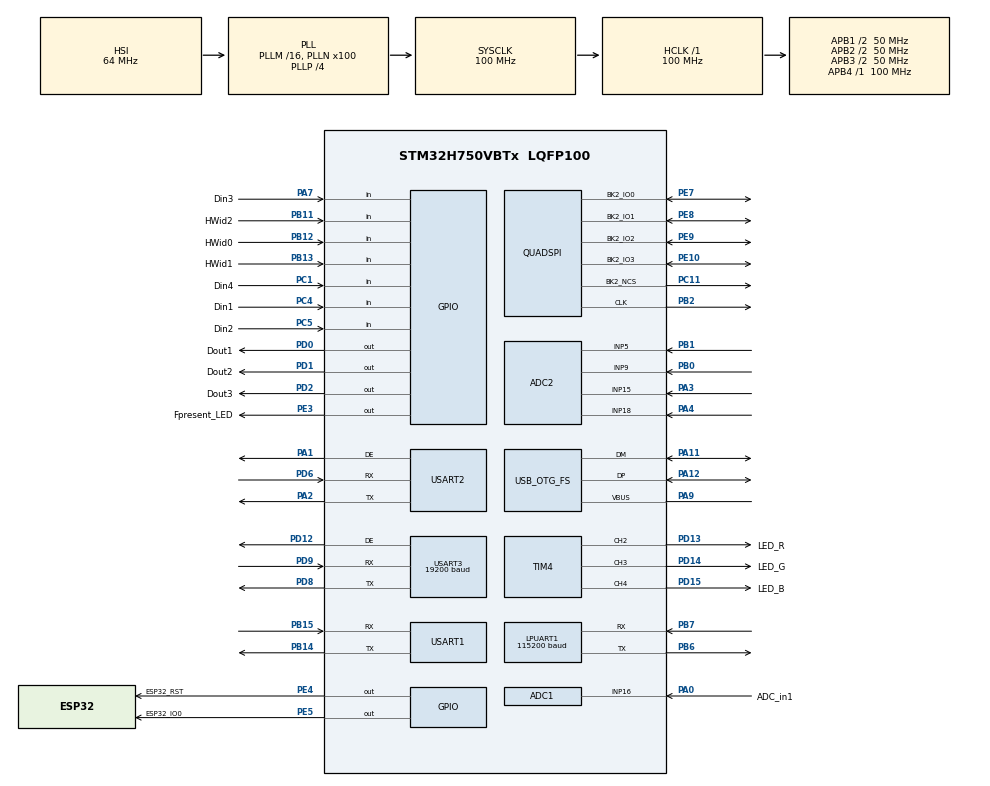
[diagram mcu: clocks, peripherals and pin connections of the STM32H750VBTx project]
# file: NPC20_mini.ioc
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ADC1.Channel-0\#ChannelRegularConversion=ADC_CHANNEL_16
ADC1.ClockPrescaler=ADC_CLOCK_ASYNC_DIV32
ADC1.NbrOfConversionFlag=1
ADC1.OffsetNumber-0\#ChannelRegularConversion=ADC_OFFSET_NONE
ADC1.OffsetSignedSaturation-0\#ChannelRegularConversion=DISABLE
ADC1.Rank-0\#ChannelRegularConversion=1
ADC1.SamplingTime-0\#ChannelRegularConversion=ADC_SAMPLETIME_1CYCLE_5
ADC1.master=1
ADC2.Channel-0\#ChannelRegularConversion=ADC_CHANNEL_9
ADC2.ClockPrescaler=ADC_CLOCK_ASYNC_DIV32
ADC2.NbrOfConversionFlag=1
ADC2.OffsetNumber-0\#ChannelRegularConversion=ADC_OFFSET_NONE
ADC2.OffsetSignedSaturation-0\#ChannelRegularConversion=DISABLE
ADC2.Rank-0\#ChannelRegularConversion=1
ADC2.SamplingTime-0\#ChannelRegularConversion=ADC_SAMPLETIME_1CYCLE_5
CORTEX_M7.CPU_DCache=Enabled
CORTEX_M7.CPU_ICache=Enabled
Dma.ADC1.2.Direction=DMA_PERIPH_TO_MEMORY
Dma.ADC1.2.EventEnable=DISABLE
Dma.ADC1.2.FIFOMode=DMA_FIFOMODE_DISABLE
Dma.ADC1.2.Instance=DMA1_Stream2
Dma.ADC1.2.MemDataAlignment=DMA_MDATAALIGN_HALFWORD
Dma.ADC1.2.MemInc=DMA_MINC_ENABLE
Dma.ADC1.2.Mode=DMA_CIRCULAR
Dma.ADC1.2.PeriphDataAlignment=DMA_PDATAALIGN_HALFWORD
Dma.ADC1.2.PeriphInc=DMA_PINC_DISABLE
Dma.ADC1.2.Polarity=HAL_DMAMUX_REQ_GEN_RISING
Dma.ADC1.2.Priority=DMA_PRIORITY_LOW
Dma.ADC1.2.RequestNumber=1
Dma.ADC1.2.SignalID=NONE
Dma.ADC1.2.SyncEnable=DISABLE
Dma.ADC1.2.SyncPolarity=HAL_DMAMUX_SYNC_NO_EVENT
Dma.ADC1.2.SyncRequestNumber=1
Dma.ADC1.2.SyncSignalID=NONE
Dma.ADC2.3.Direction=DMA_PERIPH_TO_MEMORY
Dma.ADC2.3.EventEnable=DISABLE
Dma.ADC2.3.FIFOMode=DMA_FIFOMODE_DISABLE
Dma.ADC2.3.Instance=DMA1_Stream3
Dma.ADC2.3.MemDataAlignment=DMA_MDATAALIGN_HALFWORD
Dma.ADC2.3.MemInc=DMA_MINC_ENABLE
Dma.ADC2.3.Mode=DMA_CIRCULAR
Dma.ADC2.3.PeriphDataAlignment=DMA_PDATAALIGN_HALFWORD
Dma.ADC2.3.PeriphInc=DMA_PINC_DISABLE
Dma.ADC2.3.Polarity=HAL_DMAMUX_REQ_GEN_RISING
Dma.ADC2.3.Priority=DMA_PRIORITY_LOW
Dma.ADC2.3.RequestNumber=1
Dma.ADC2.3.SignalID=NONE
Dma.ADC2.3.SyncEnable=DISABLE
Dma.ADC2.3.SyncPolarity=HAL_DMAMUX_SYNC_NO_EVENT
Dma.ADC2.3.SyncRequestNumber=1
Dma.ADC2.3.SyncSignalID=NONE
Dma.Request0=USART3_RX
Dma.Request1=USART3_TX
Dma.Request2=ADC1
Dma.Request3=ADC2
Dma.Request4=USART2_RX
Dma.Request5=USART2_TX
Dma.USART2_RX.4.Direction=DMA_PERIPH_TO_MEMORY
Dma.USART2_RX.4.EventEnable=DISABLE
Dma.USART2_RX.4.FIFOMode=DMA_FIFOMODE_DISABLE
Dma.USART2_RX.4.Instance=DMA1_Stream4
Dma.USART2_RX.4.MemDataAlignment=DMA_MDATAALIGN_BYTE
Dma.USART2_RX.4.MemInc=DMA_MINC_ENABLE
Dma.USART2_RX.4.Mode=DMA_NORMAL
Dma.USART2_RX.4.PeriphDataAlignment=DMA_PDATAALIGN_BYTE
Dma.USART2_RX.4.PeriphInc=DMA_PINC_DISABLE
Dma.USART2_RX.4.Polarity=HAL_DMAMUX_REQ_GEN_RISING
Dma.USART2_RX.4.Priority=DMA_PRIORITY_LOW
Dma.USART2_RX.4.RequestNumber=1
Dma.USART2_RX.4.SignalID=NONE
Dma.USART2_RX.4.SyncEnable=DISABLE
Dma.USART2_RX.4.SyncPolarity=HAL_DMAMUX_SYNC_NO_EVENT
Dma.USART2_RX.4.SyncRequestNumber=1
Dma.USART2_RX.4.SyncSignalID=NONE
Dma.USART2_TX.5.Direction=DMA_MEMORY_TO_PERIPH
Dma.USART2_TX.5.EventEnable=DISABLE
Dma.USART2_TX.5.FIFOMode=DMA_FIFOMODE_DISABLE
Dma.USART2_TX.5.Instance=DMA1_Stream5
Dma.USART2_TX.5.MemDataAlignment=DMA_MDATAALIGN_BYTE
Dma.USART2_TX.5.MemInc=DMA_MINC_ENABLE
Dma.USART2_TX.5.Mode=DMA_NORMAL
Dma.USART2_TX.5.PeriphDataAlignment=DMA_PDATAALIGN_BYTE
Dma.USART2_TX.5.PeriphInc=DMA_PINC_DISABLE
Dma.USART2_TX.5.Polarity=HAL_DMAMUX_REQ_GEN_RISING
Dma.USART2_TX.5.Priority=DMA_PRIORITY_LOW
Dma.USART2_TX.5.RequestNumber=1
Dma.USART2_TX.5.SignalID=NONE
Dma.USART2_TX.5.SyncEnable=DISABLE
Dma.USART2_TX.5.SyncPolarity=HAL_DMAMUX_SYNC_NO_EVENT
Dma.USART2_TX.5.SyncRequestNumber=1
Dma.USART2_TX.5.SyncSignalID=NONE
Dma.USART3_RX.0.Direction=DMA_PERIPH_TO_MEMORY
Dma.USART3_RX.0.EventEnable=DISABLE
Dma.USART3_RX.0.FIFOMode=DMA_FIFOMODE_DISABLE
Dma.USART3_RX.0.Instance=DMA1_Stream0
Dma.USART3_RX.0.MemDataAlignment=DMA_MDATAALIGN_BYTE
Dma.USART3_RX.0.MemInc=DMA_MINC_ENABLE
Dma.USART3_RX.0.Mode=DMA_NORMAL
Dma.USART3_RX.0.PeriphDataAlignment=DMA_PDATAALIGN_BYTE
Dma.USART3_RX.0.PeriphInc=DMA_PINC_DISABLE
Dma.USART3_RX.0.Polarity=HAL_DMAMUX_REQ_GEN_RISING
Dma.USART3_RX.0.Priority=DMA_PRIORITY_LOW
Dma.USART3_RX.0.RequestNumber=1
Dma.USART3_RX.0.SignalID=NONE
Dma.USART3_RX.0.SyncEnable=DISABLE
Dma.USART3_RX.0.SyncPolarity=HAL_DMAMUX_SYNC_NO_EVENT
Dma.USART3_RX.0.SyncRequestNumber=1
Dma.USART3_RX.0.SyncSignalID=NONE
Dma.USART3_TX.1.Direction=DMA_MEMORY_TO_PERIPH
Dma.USART3_TX.1.EventEnable=DISABLE
Dma.USART3_TX.1.FIFOMode=DMA_FIFOMODE_DISABLE
Dma.USART3_TX.1.Instance=DMA1_Stream1
Dma.USART3_TX.1.MemDataAlignment=DMA_MDATAALIGN_BYTE
Dma.USART3_TX.1.MemInc=DMA_MINC_ENABLE
Dma.USART3_TX.1.Mode=DMA_NORMAL
Dma.USART3_TX.1.PeriphDataAlignment=DMA_PDATAALIGN_BYTE
Dma.USART3_TX.1.PeriphInc=DMA_PINC_DISABLE
Dma.USART3_TX.1.Polarity=HAL_DMAMUX_REQ_GEN_RISING
Dma.USART3_TX.1.Priority=DMA_PRIORITY_LOW
Dma.USART3_TX.1.RequestNumber=1
Dma.USART3_TX.1.SignalID=NONE
Dma.USART3_TX.1.SyncEnable=DISABLE
Dma.USART3_TX.1.SyncPolarity=HAL_DMAMUX_SYNC_NO_EVENT
Dma.USART3_TX.1.SyncRequestNumber=1
Dma.USART3_TX.1.SyncSignalID=NONE
FREERTOS.INCLUDE_uxTaskGetStackHighWaterMark2=1
FREERTOS.Tasks01=defaultTask,24,256,StartDefaultTask,Default,NULL,Dynamic,NULL,NULL;UART1Task,8,512,UART1_task,Default,NULL,Dynamic,NULL,NULL;Task4_20mAscan,8,256,ADC_4_20mApolling,Default,NULL,Dynamic,NULL,NULL;myTaskMaster,8,256,StartTaskMaster,Default,NULL,Dynamic,NULL,NULL;ExternalFlash,8,256,external_flash,Default,NULL,Dynamic,NULL,NULL;UARTSend,8,512,UART_Send,Default,NULL,Dynamic,NULL,NULL;PID,8,512,PIDControl,Default,NULL,Dynamic,NULL,NULL;PumpsScheduler,8,256,Pumps_Scheduler,Default,NULL,Dynamic,NULL,NULL
FREERTOS.configCHECK_FOR_STACK_OVERFLOW=1
FREERTOS.configENABLE_FPU=1
FREERTOS.configRECORD_STACK_HIGH_ADDRESS=1
FREERTOS.configUSE_NEWLIB_REENTRANT=1
LPUART1.BaudRate=115200
Mcu.Family=STM32H7
Mcu.Name=STM32H750VBTx
Mcu.Package=LQFP100
NVIC.ADC_IRQn=true\:5\:0\:false\:false\:true\:true\:true\:true\:true
NVIC.DMA1_Stream0_IRQn=true\:5\:0\:false\:false\:true\:true\:false\:true\:true
NVIC.DMA1_Stream1_IRQn=true\:5\:0\:false\:false\:true\:true\:false\:true\:true
NVIC.DMA1_Stream2_IRQn=true\:5\:0\:false\:false\:true\:true\:false\:true\:true
NVIC.DMA1_Stream3_IRQn=true\:5\:0\:false\:false\:true\:true\:false\:true\:true
NVIC.DMA1_Stream4_IRQn=true\:5\:0\:false\:false\:true\:true\:false\:true\:true
NVIC.DMA1_Stream5_IRQn=true\:5\:0\:false\:false\:true\:true\:false\:true\:true
NVIC.FPU_IRQn=true\:5\:0\:false\:false\:true\:true\:false\:false\:true
NVIC.PriorityGroup=NVIC_PRIORITYGROUP_4
NVIC.QUADSPI_IRQn=true\:5\:0\:false\:false\:true\:true\:true\:true\:true
NVIC.TIM17_IRQn=true\:15\:0\:false\:false\:true\:false\:false\:true\:true
NVIC.TimeBase=TIM17_IRQn
NVIC.TimeBaseIP=TIM17
NVIC.USART1_IRQn=true\:5\:0\:false\:false\:true\:true\:true\:true\:true
NVIC.USART3_IRQn=true\:5\:0\:false\:false\:true\:true\:true\:true\:true
PA0.GPIO_Label=ADC_in1
PA0.Mode=IN16-Single-Ended
PA0.Signal=ADC1_INP16
PA1.Mode=Hardware Flow Control (RS485)
PA1.Signal=USART2_DE
PA11.Mode=Host_Only
PA11.Signal=USB_OTG_FS_DM
PA12.Mode=Host_Only
PA12.Signal=USB_OTG_FS_DP
PA13\ (JTMS/SWDIO).Mode=Trace_Asynchronous_SW
PA13\ (JTMS/SWDIO).Signal=DEBUG_JTMS-SWDIO
PA14\ (JTCK/SWCLK).Mode=Trace_Asynchronous_SW
PA14\ (JTCK/SWCLK).Signal=DEBUG_JTCK-SWCLK
PA2.Mode=Asynchronous
PA2.Signal=USART2_TX
PA3.Signal=ADCx_INP15
PA4.Signal=ADCx_INP18
PA7.GPIO_Label=Din3
PA7.Signal=GPIO_Input
PA9.Mode=Activate_VBUS
PA9.Signal=USB_OTG_FS_VBUS
PB0.Signal=ADCx_INP9
PB1.Signal=ADCx_INP5
PB11.GPIO_Label=HWid2
PB11.GPIO_PuPd=GPIO_PULLDOWN
PB11.Signal=GPIO_Input
PB12.GPIO_Label=HWid0
PB12.GPIO_PuPd=GPIO_PULLDOWN
PB12.Signal=GPIO_Input
PB13.GPIO_Label=HWid1
PB13.GPIO_PuPd=GPIO_PULLDOWN
PB13.Signal=GPIO_Input
PB14.Mode=Asynchronous
PB14.Signal=USART1_TX
PB15.Mode=Asynchronous
PB15.Signal=USART1_RX
PB2.Mode=Single Bank 2
PB2.Signal=QUADSPI_CLK
PB3\ (JTDO/TRACESWO).Mode=Trace_Asynchronous_SW
PB3\ (JTDO/TRACESWO).Signal=DEBUG_JTDO-SWO
PB6.Mode=Asynchronous
PB6.Signal=LPUART1_TX
PB7.Mode=Asynchronous
PB7.Signal=LPUART1_RX
PC0.GPIO_Label=ADC_in2
PC0.Signal=ADCx_INP10
PC1.GPIO_Label=Din4
PC1.Signal=GPIO_Input
PC11.Mode=Single Bank 2
PC11.Signal=QUADSPI_BK2_NCS
PC14-OSC32_IN\ (OSC32_IN).Mode=LSE-External-Oscillator
PC14-OSC32_IN\ (OSC32_IN).Signal=RCC_OSC32_IN
PC15-OSC32_OUT\ (OSC32_OUT).Mode=LSE-External-Oscillator
PC15-OSC32_OUT\ (OSC32_OUT).Signal=RCC_OSC32_OUT
PC4.GPIO_Label=Din1
PC4.Signal=GPIO_Input
PC5.GPIO_Label=Din2
PC5.Signal=GPIO_Input
PD0.GPIO_Label=Dout1
PD0.Signal=GPIO_Output
PD1.GPIO_Label=Dout2
PD1.Signal=GPIO_Output
PD12.Mode=Hardware Flow Control (RS485)
PD12.Signal=USART3_DE
PD13.GPIO_Label=LED_R
PD13.Signal=S_TIM4_CH2
PD14.GPIO_Label=LED_G
PD14.Signal=S_TIM4_CH3
PD15.GPIO_Label=LED_B
PD15.Signal=S_TIM4_CH4
PD2.GPIO_Label=Dout3
PD2.Signal=GPIO_Output
PD6.Mode=Asynchronous
PD6.Signal=USART2_RX
PD8.Mode=Asynchronous
PD8.Signal=USART3_TX
PD9.Mode=Asynchronous
PD9.Signal=USART3_RX
PE10.Mode=Single Bank 2
PE10.Signal=QUADSPI_BK2_IO3
PE3.GPIO_Label=Fpresent_LED
PE3.Signal=GPIO_Output
PE4.GPIO_Label=ESP32_RST
PE4.PinState=GPIO_PIN_SET
PE4.Signal=GPIO_Output
PE5.GPIO_Label=ESP32_IO0
PE5.PinState=GPIO_PIN_SET
PE5.Signal=GPIO_Output
PE7.Mode=Single Bank 2
PE7.Signal=QUADSPI_BK2_IO0
PE8.Mode=Single Bank 2
PE8.Signal=QUADSPI_BK2_IO1
PE9.Mode=Single Bank 2
PE9.Signal=QUADSPI_BK2_IO2
ProjectManager.HeapSize=0x200
ProjectManager.StackSize=0x400
ProjectManager.TargetToolchain=STM32CubeIDE
QUADSPI.ChipSelectHighTime=QSPI_CS_HIGH_TIME_6_CYCLE
QUADSPI.ClockPrescaler=0
QUADSPI.FifoThreshold=4
QUADSPI.FlashSize=24
QUADSPI.SampleShifting=QSPI_SAMPLE_SHIFTING_HALFCYCLE
RCC.ADCCLockSelection=RCC_ADCCLKSOURCE_PLL2
RCC.ADCFreq_Value=32000000
RCC.APB1Freq_Value=50000000
RCC.APB2Freq_Value=50000000
RCC.APB3Freq_Value=50000000
RCC.APB4Freq_Value=100000000
RCC.CECCLockSelection=RCC_CECCLKSOURCE_LSI
RCC.CKPERSourceSelection=RCC_CLKPSOURCE_HSI
RCC.CSI_VALUE=4000000
RCC.CortexFreq_Value=100000000
RCC.Cortex_DivARG=SystemCoreClock/1000
RCC.D1PPRE=RCC_APB3_DIV2
RCC.D2PPRE1=RCC_APB1_DIV2
RCC.D2PPRE2=RCC_APB2_DIV2
RCC.DFSDMCLockSelection=RCC_DFSDM1CLKSOURCE_D2PCLK1
RCC.DIVM1=16
RCC.DIVN1=100
RCC.DIVN2=128
RCC.DIVN3=128
RCC.DIVP1=4
RCC.DIVP2=8
RCC.DIVQ2=8
RCC.DIVQ3=8
RCC.DSICLockSelection=RCC_DSICLKSOURCE_PHY
RCC.DSIPHY_Div=8
RCC.DSITX_Div=4
RCC.DSI_PHY_VALUE=12288000
RCC.EXTERNAL_CLOCK_VALUE=12288000
RCC.FDCANCLockSelection=RCC_FDCANCLKSOURCE_PLL
RCC.FMCCLockSelection=RCC_FMCCLKSOURCE_D1HCLK
RCC.HCLKFreq_Value=100000000
RCC.HSE_VALUE=25000000
RCC.HSI_VALUE=64000000
RCC.I2C123CLockSelection=RCC_I2C123CLKSOURCE_D2PCLK1
RCC.I2C4CLockSelection=RCC_I2C4CLKSOURCE_D3PCLK1
RCC.LPTIM1CLockSelection=RCC_LPTIM1CLKSOURCE_D2PCLK1
RCC.LPTIM2CLockSelection=RCC_LPTIM2CLKSOURCE_D3PCLK1
RCC.LPTIM345CLockSelection=RCC_LPTIM345CLKSOURCE_D3PCLK1
RCC.PLL1_VCI_Range=RCC_PLL1VCIRANGE_3
RCC.PLL1_VCI_Range-AdvancedSettings=RCC_PLL1VCIRANGE_1
RCC.PLL2FRACN=0
RCC.PLL2_VCI_Range=RCC_PLL2VCIRANGE_3
RCC.PLL3FRACN=0
RCC.PLLDSIDev=2
RCC.PLLDSIIDF=DSI_PLL_IN_DIV1
RCC.PLLDSIMult=2
RCC.PLLDSINDIV=20
RCC.PLLDSIODF=DSI_PLL_OUT_DIV1
RCC.PLLFRACN=0
RCC.QSPICLockSelection=RCC_QSPICLKSOURCE_D1HCLK
RCC.RC48_VALUE=48000000
RCC.RCC_MCO1Source=RCC_MCO1SOURCE_HSI
RCC.RCC_MCO2Source=RCC_MCO2SOURCE_SYSCLK
RCC.RNGCLockSelection=RCC_RNGCLKSOURCE_HSI48
RCC.RTCClockSelection=RCC_RTCCLKSOURCE_LSE
RCC.SAI1CLockSelection=RCC_SAI1CLKSOURCE_PLL
RCC.SAI23CLockSelection=RCC_SAI23CLKSOURCE_PLL
RCC.SAI4ACLockSelection=RCC_SAI4ACLKSOURCE_PLL
RCC.SAI4BCLockSelection=RCC_SAI4BCLKSOURCE_PLL
RCC.SPDIFCLockSelection=RCC_SPDIFRXCLKSOURCE_PLL
RCC.SPI123CLockSelection=RCC_SPI123CLKSOURCE_PLL
RCC.SPI6CLockSelection=RCC_SPI6CLKSOURCE_D3PCLK1
RCC.SWPCLockSelection=RCC_SWPMI1CLKSOURCE_D2PCLK1
RCC.SYSCLKFreq_VALUE=100000000
RCC.SYSCLKSource=RCC_SYSCLKSOURCE_PLLCLK
RCC.Spi45ClockSelection=RCC_SPI45CLKSOURCE_D2PCLK1
RCC.USART16CLockSelection=RCC_USART16CLKSOURCE_D2PCLK2
RCC.USART234578CLockSelection=RCC_USART234578CLKSOURCE_D2PCLK1
RCC.USBCLockSelection=RCC_USBCLKSOURCE_HSI48
RCC.USBFreq_Value=48000000
SH.ADCx_INP10.0=ADC1_INP10
SH.ADCx_INP15.0=ADC1_INP15
SH.ADCx_INP15.1=ADC2_INP15,IN15-Single-Ended
SH.ADCx_INP18.0=ADC1_INP18
SH.ADCx_INP18.1=ADC2_INP18,IN18-Single-Ended
SH.ADCx_INP5.0=ADC2_INP5,IN5-Single-Ended
SH.ADCx_INP9.0=ADC2_INP9,IN9-Single-Ended
SH.S_TIM4_CH2.0=TIM4_CH2,PWM Generation2 CH2
SH.S_TIM4_CH3.0=TIM4_CH3,PWM Generation3 CH3
SH.S_TIM4_CH4.0=TIM4_CH4,PWM Generation4 CH4
TIM4.Channel-PWM\ Generation2\ CH2=TIM_CHANNEL_2
TIM4.Channel-PWM\ Generation3\ CH3=TIM_CHANNEL_3
TIM4.Channel-PWM\ Generation4\ CH4=TIM_CHANNEL_4
USART1.VirtualMode-Asynchronous=VM_ASYNC
USART2.VirtualMode-Asynchronous=VM_ASYNC
USART2.VirtualMode-Hardware\ Flow\ Control\ (RS485)=VM_ASYNC
USART3.BaudRate=19200
USART3.VirtualMode-Asynchronous=VM_ASYNC
USART3.VirtualMode-Hardware\ Flow\ Control\ (RS485)=VM_ASYNC
USB_OTG_FS.VirtualMode=Host_Only
USB_OTG_FS.phy_itface=HCD_PHY_EMBEDDED
VP_FREERTOS_VS_CMSIS_V2.Mode=CMSIS_V2
VP_RTC_VS_RTC_Activate.Mode=RTC_Enabled
VP_SYS_VS_tim17.Mode=TIM17
VP_TIM2_VS_ClockSourceINT.Mode=Internal
VP_TIM4_VS_ClockSourceINT.Mode=Internal
VP_VREFBUF_V_VREFBUF.Mode=ExternalMode
board=custom

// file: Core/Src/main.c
/* USER CODE BEGIN Header */
/**
  ******************************************************************************
  * @file           : main.c
  * @brief          : Main program body
  ******************************************************************************
  * @attention
  *
  * Copyright (c) 2023 STMicroelectronics.
  * All rights reserved.
  *
  * This software is licensed under terms that can be found in the LICENSE file
  * in the root directory of this software component.
  * If no LICENSE file comes with this software, it is provided AS-IS.
  *
  ******************************************************************************
  */
/* USER CODE END Header */
#include "main.h"
#include "cmsis_os.h"
#include "adc.h"
#include "dma.h"
#include "usart.h"
#include "quadspi.h"
#include "rtc.h"
#include "tim.h"
#include "usb_otg.h"
#include "gpio.h"
#include "external_flash.h"
#include "Modbus.h"

/* USER CODE BEGIN Includes */
#include"stdio.h"

/* USER CODE END Includes */

/* USER CODE BEGIN PD */
char alarmsArray[MAX_ALARMS][RECORD_SIZE];
extern uint32_t currentAlarmValidAlarmIndex;

/* USER CODE END PD */

void SystemClock_Config(void);
void PeriphCommonClock_Config(void);
void MX_FREERTOS_Init(void);

int main(void)
{

  /* Enable I-Cache---------------------------------------------------------*/
  SCB_EnableICache();

  /* Enable D-Cache---------------------------------------------------------*/
  SCB_EnableDCache();

  /* MCU Configuration--------------------------------------------------------*/

  /* Reset of all peripherals, Initializes the Flash interface and the Systick. */
  HAL_Init();

  /* Configure the system clock */
  SystemClock_Config();

/* Configure the peripherals common clocks */
  PeriphCommonClock_Config();

  /* Initialize all configured peripherals */
  MX_GPIO_Init();
  MX_DMA_Init();
  MX_LPUART1_UART_Init();
  MX_USART1_UART_Init();
  MX_USART3_UART_Init();
  MX_TIM4_Init();
  MX_USB_OTG_FS_HCD_Init();
  MX_ADC1_Init();
  MX_QUADSPI_Init();
  MX_RTC_Init();
  MX_ADC2_Init();
  MX_USART2_UART_Init();
  MX_TIM2_Init();
  /* USER CODE BEGIN 2 */

	 ModbusMasterHandler2Init();
	//Start RGB LED
	HAL_TIM_PWM_Start(&htim4, TIM_CHANNEL_2);
	HAL_TIM_PWM_Start(&htim4, TIM_CHANNEL_3);
	HAL_TIM_PWM_Start(&htim4, TIM_CHANNEL_4);

//
	delete_pump_data_from_backup_registers();
//	delete_factory_data_from_backup_registers();
	//delete_internal_system_data_from_backup_domain_registers();

	restore_factory_page_data();
	restore_internal_system_data();
	restore_pump_data();

	numberOfSchedulerRecords = read_backup_register(datedSchedRegisterNumber);
	numberOfWeeklyRecords = read_backup_register(numberOfWeeklyRecordsRegNum);
	 storedAlarmsNumber =read_backup_register(numberOfAlarmsRegNum) ;

	ExtractRecords(&hqspi);

	ExtractWeeklyRecords(&hqspi);
	HAL_StatusTypeDef statusReadAlarms = read_alarm_records(
		ALARMS_START_ADDRESS, alarmsArray, &storedAlarmsNumber);

	compare_rtc();
		compare_weekly_rtc();

  /* USER CODE END 2 */

  /* Init scheduler */
  osKernelInitialize();  /* Call init function for freertos objects (in freertos.c) */
  MX_FREERTOS_Init();

  /* Start scheduler */
  osKernelStart();

  /* We should never get here as control is now taken by the scheduler */
  /* Infinite loop */
  while (1)
  {

  }
}

void SystemClock_Config(void)
{
  RCC_OscInitTypeDef RCC_OscInitStruct = {0};
  RCC_ClkInitTypeDef RCC_ClkInitStruct = {0};

  /** Supply configuration update enable
  */
  HAL_PWREx_ConfigSupply(PWR_LDO_SUPPLY);

  /** Configure the main internal regulator output voltage
  */
  __HAL_PWR_VOLTAGESCALING_CONFIG(PWR_REGULATOR_VOLTAGE_SCALE3);

  while(!__HAL_PWR_GET_FLAG(PWR_FLAG_VOSRDY)) {}

  /** Configure LSE Drive Capability
  */
  HAL_PWR_EnableBkUpAccess();
  __HAL_RCC_LSEDRIVE_CONFIG(RCC_LSEDRIVE_LOW);

  /** Initializes the RCC Oscillators according to the specified parameters
  * in the RCC_OscInitTypeDef structure.
  */
  RCC_OscInitStruct.OscillatorType = RCC_OSCILLATORTYPE_HSI48|RCC_OSCILLATORTYPE_HSI
                              |RCC_OSCILLATORTYPE_LSE;
  RCC_OscInitStruct.LSEState = RCC_LSE_ON;
  RCC_OscInitStruct.HSIState = RCC_HSI_DIV1;
  RCC_OscInitStruct.HSICalibrationValue = RCC_HSICALIBRATION_DEFAULT;
  RCC_OscInitStruct.HSI48State = RCC_HSI48_ON;
  RCC_OscInitStruct.PLL.PLLState = RCC_PLL_ON;
  RCC_OscInitStruct.PLL.PLLSource = RCC_PLLSOURCE_HSI;
  RCC_OscInitStruct.PLL.PLLM = 16;
  RCC_OscInitStruct.PLL.PLLN = 100;
  RCC_OscInitStruct.PLL.PLLP = 4;
  RCC_OscInitStruct.PLL.PLLQ = 2;
  RCC_OscInitStruct.PLL.PLLR = 2;
  RCC_OscInitStruct.PLL.PLLRGE = RCC_PLL1VCIRANGE_3;
  RCC_OscInitStruct.PLL.PLLVCOSEL = RCC_PLL1VCOWIDE;
  RCC_OscInitStruct.PLL.PLLFRACN = 0;
  if (HAL_RCC_OscConfig(&RCC_OscInitStruct) != HAL_OK)
  {
    Error_Handler();
  }

  /** Initializes the CPU, AHB and APB buses clocks
  */
  RCC_ClkInitStruct.ClockType = RCC_CLOCKTYPE_HCLK|RCC_CLOCKTYPE_SYSCLK
                              |RCC_CLOCKTYPE_PCLK1|RCC_CLOCKTYPE_PCLK2
                              |RCC_CLOCKTYPE_D3PCLK1|RCC_CLOCKTYPE_D1PCLK1;
  RCC_ClkInitStruct.SYSCLKSource = RCC_SYSCLKSOURCE_PLLCLK;
  RCC_ClkInitStruct.SYSCLKDivider = RCC_SYSCLK_DIV1;
  RCC_ClkInitStruct.AHBCLKDivider = RCC_HCLK_DIV1;
  RCC_ClkInitStruct.APB3CLKDivider = RCC_APB3_DIV2;
  RCC_ClkInitStruct.APB1CLKDivider = RCC_APB1_DIV2;
  RCC_ClkInitStruct.APB2CLKDivider = RCC_APB2_DIV2;
  RCC_ClkInitStruct.APB4CLKDivider = RCC_APB4_DIV1;

  if (HAL_RCC_ClockConfig(&RCC_ClkInitStruct, FLASH_LATENCY_2) != HAL_OK)
  {
    Error_Handler();
  }
}

void PeriphCommonClock_Config(void)
{
  RCC_PeriphCLKInitTypeDef PeriphClkInitStruct = {0};

  /** Initializes the peripherals clock
  */
  PeriphClkInitStruct.PeriphClockSelection = RCC_PERIPHCLK_ADC;
  PeriphClkInitStruct.PLL2.PLL2M = 32;
  PeriphClkInitStruct.PLL2.PLL2N = 128;
  PeriphClkInitStruct.PLL2.PLL2P = 8;
  PeriphClkInitStruct.PLL2.PLL2Q = 8;
  PeriphClkInitStruct.PLL2.PLL2R = 2;
  PeriphClkInitStruct.PLL2.PLL2RGE = RCC_PLL2VCIRANGE_3;
  PeriphClkInitStruct.PLL2.PLL2VCOSEL = RCC_PLL2VCOWIDE;
  PeriphClkInitStruct.PLL2.PLL2FRACN = 0;
  PeriphClkInitStruct.AdcClockSelection = RCC_ADCCLKSOURCE_PLL2;
  if (HAL_RCCEx_PeriphCLKConfig(&PeriphClkInitStruct) != HAL_OK)
  {
    Error_Handler();
  }
}

void HAL_TIM_PeriodElapsedCallback(TIM_HandleTypeDef *htim)
{
  if (htim->Instance == TIM17) {
    HAL_IncTick();
  }
}

void Error_Handler(void)
{
  __disable_irq();
  while (1)
  {
  }
}

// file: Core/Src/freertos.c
/***************************************************************************************
 * NOTE TO THE READER:
 ***************************************************************************************
 * This file contains only the headers and documentation for various functions.
 * The implementation of these functions has been deliberately removed in order to
 * protect the copyright and prevent unauthorized copying of the code.
 *
 * Each function is accompanied by a brief description, including details about
 * its intended purpose, parameters, and expected return values. However, the
 * actual code within each function is intentionally omitted.
 *
 * This approach is taken to share the structure and design of the code while
 * preserving the integrity and proprietary nature of the actual implementation.
 ***************************************************************************************/

/* USER CODE BEGIN Header */
/**
 ******************************************************************************
 * File Name          : freertos.c
 * Description        : Code for freertos applications
 ******************************************************************************
 * @attention
 *
 * Copyright (c) 2023 STMicroelectronics.
 * All rights reserved.
 *
 * This software is licensed under terms that can be found in the LICENSE file
 * in the root directory of this software component.
 * If no LICENSE file comes with this software, it is provided AS-IS.
 *
 ******************************************************************************

 */
/* USER CODE END Header */

#include "FreeRTOS.h"
#include "task.h"
#include "main.h"
#include "cmsis_os.h"
#include "external_flash.h"
/* USER CODE BEGIN Includes */
#include <string.h>
#include "ESP_UART_Config.h"
#include "semphr.h"
#include "usart.h"
#include "tim.h"
#include "VFD.h"
#include "adc.h"
#include "rtc.h"
#include "scheduler.h"
#include "modbus.h"
#include "backup_resgisters_operations.h"
#include "s25fl256s.h"
#include "quadspi.h"
#include "stm32h7xx_it.h"

/* USER CODE END Includes */

/* USER CODE BEGIN PD */
#define MULTI_VFD
// #define SINGLE_VFD
// #define NO_VFD

#if defined(SINGLE_VFD)
uint8_t baseLoadPumpWokring = 0;
#endif

/* USER CODE END PD */

/* USER CODE BEGIN Variables */

//*start uart_send task  -------------------------------------------------------------*/
#define MANUAL_MODE 0
#define AUTO_MODE 1

// flag send the operation mode to the app
// to show weither it we are on manual mode
// or PID when entering the home page to show the appropriate settings
uint8_t sendOperationMode = 0;

// the pump id and speed that the user changed from the APP when
// the app is on the manual mode
uint8_t manualPumpID = 0;
uint16_t manualPumpSpeed = 0;

// current operaton mode
uint8_t operationMode = MANUAL_MODE;
/*flags to erase sections of the external flash while the code running by me
 * by editing them while debugging*/
volatile uint8_t eraseEntireChipFlag = 0;
volatile uint8_t eraseDatedRecordsFlag = 0;
volatile uint8_t eraseWeeklyRecordsFlag = 0;
volatile uint8_t eraseAlarmsRecordsFlag = 0;

// Flag when the user enter the alarm page on the app this will be 1 (alarms page)
uint8_t sendAlarmRecords = 0;
// Flag when the user enter the dated scheduler  page on the app this will be 1 (Scheduler page)
uint8_t sendSchedData = 0;

//(custom order page)
// the slave id on custom command page to send or receive from it
uint8_t Slave_ID;
uint8_t functionNumber;
uint64_t slaveAddress;
uint16_t dataToSend;
uint16_t responseData;
uint8_t sendNow;
uint8_t thereIsData;

//(pid task)
// start timer variables
uint8_t KIreceived = 0;
// end timer variables
// flag to stop the pid if no single vfd response at all
volatile uint8_t fullSystemTrip = 0;
// number of working currently working pumps on the system
uint8_t activePumps = 0;
// helpers to pid algortim variables
float accumulatedError = 0;
float lastError = 0;
float prevControlAction = 0;
float controlAction;
uint16_t desiredSpeedPerPump = 0;
uint8_t prevActivePumps = 0;
int16_t controlActionDifference = 0;
uint8_t schedulerPumpToShutDownIndex = 0;
uint8_t schedulerPumpToRiseIndex = 0;

//(StartDefaultTask)
// rgb led variables
uint16_t redValue = 64000;
uint16_t greenValue = 32000;
uint16_t blueValue = 32000;

//(global between task)
// holder of modbus request
uint16_t requestResponseHolder1 = danfoss101_stop;
uint16_t requestResponseHolder = 0;
// current speed of each pump on the system
uint16_t speedPercentageOfPump[8] =
	{0, 0, 0, 0, 0, 0, 0, 0};
// current pump current of each pump on the system
uint16_t pumpCurrent[8] =
	{0, 0, 0, 0, 0, 0, 0, 0};
// flag to indicate weither we are on home page or not to start or stop sending the pid data
uint8_t inHomePage = 0;
// flag to check if there is dry run condition to stop the pumps in this case
uint8_t dryRunDetected = 0;
// alarm array which contain all the alarms of the system
extern char alarmsArray[MAX_ALARMS][RECORD_SIZE];
uint16_t DanfossVfdMaxSpeed = 16384;
// if we enter the scheduler page this will be one to send the rtc date and time
uint8_t setRTC = 0;
//  hold current info about each pump on the array
PumpInfo pumpInfoArray[MAX_NUM_PUMPS];
// time out for modebus request if not response on this time (modbus configuration)
uint32_t TimeoutValue = 65; // minimum for a successful communication is 35ms
// test the case of connectvity with the vfd and this is every around 5 seconds
uint8_t testIFNoVfdResponse = 1;
// if the pressure sensor error is not connected probelry this flag will be 1
uint8_t pressureSensorError = 0;
// handler of  configurations of modbus
modbus_t telegram[2];

//(Factory Configuration page)
// used to to maintain the current value of pid ouput when hte user change the ki constant
float OldKI = 0;
float setPointRequired = 5;
uint8_t getFactoryData = 0;
// pack those three varibles on 4 bytes of the back domain
uint16_t offset = 1800;
float cutIn = 1.5;
float cutOff = 1.5;
uint8_t VFD_type = 0;
uint8_t systemPumpsNumber = 4;
// pack those two variables on one 32bit register of the backup domain
uint16_t firstADCCalibrationReading = 7743;
uint16_t secondADCCalibrationReading = 64196;
char RTCString[25]; // Replace this line with the actual received string
float Kp = 1000;
float Ki = .2;
float Kd = 0;
float currentOfTheFirstReading = 4.00000192;
float currentOfTheSecondReading = 20.5100198;
float_t minimumPressure = 0;
float MaximumPressure = 16;
uint16_t changeOverTime = 20;
// the flags try pack them in one byte
uint8_t enableScheduler = 0;
uint8_t enablePID = 0;
uint8_t save = 0;
uint8_t sendRTC = 1;
//	first current received from the setting page to calibrate the adc (Factory Configuration page)
uint8_t firstCurrentReadingRecived = 0;
//	second current received from the setting page to calibrate the adc
uint8_t secondCurrentReadingRecived = 0;
float coffA = 0.00029245f;	// Calibration multiplier
float coffB = 1.735515392f; // Calibration offset
char vfdType[101] =
	{0};
// enable dry run switch
uint8_t enableDryRun = 0;

//(no vfd pid)
// used to hold each set point the system will start a new pump on it
float pumpsSetPoints[MAX_NUM_PUMPS];

//(Pumps_Scheduler task)
PumpInfo tempPumpInfoArray[MAX_NUM_PUMPS];
// if one of hte pumps excedded change over time it this flag will be set to one to make the
// scheduler task stop it and start one with less wokring hours
volatile uint8_t arrangeChanged = 0;

// modbus handlers and buffers and in our application it it allowed to use two instance of modbus communication
extern modbusHandler_t ModbusH;
extern uint16_t ModbusDATA[128];
extern modbusHandler_t ModbusH2;
extern uint16_t ModbusDATA2[128];

// varible that the rtc will fill with the current date and time
extern RTC_TimeTypeDef sTime;
extern RTC_DateTypeDef sDate;

// if the user in the app enter the alarms page this flag will be 1
uint8_t sendAlarms = 0;
// current presusre that is being get from the sensor connected to the board
float currentPressure;
// end ADC TASK VARibles

//(alarm and warning page)
// the user choosed from the alarms page that if there is a dry run it will trip the system
uint8_t dryRunSysStop = 0;
// the user enabled the pressure sensor not detected erro
uint8_t pressureAlarmEnable = 0;
// the user choose from alarm page that the pressure sensor not detected will trip the system
uint8_t pressureSysStop = 0;

/* USER CODE END Variables */
/* Definitions for defaultTask */
osThreadId_t defaultTaskHandle;
const osThreadAttr_t defaultTask_attributes =
	{
		.name = "defaultTask",
		.stack_size = 256 * 4,
		.priority =
			(osPriority_t)osPriorityNormal,
};
/* Definitions for UART1Task */
osThreadId_t UART1TaskHandle;
const osThreadAttr_t UART1Task_attributes =
	{
		.name = "UART1Task",
		.stack_size = 512 * 4,
		.priority =
			(osPriority_t)osPriorityLow,
};
/* Definitions for Task4_20mAscan */
osThreadId_t Task4_20mAscanHandle;
const osThreadAttr_t Task4_20mAscan_attributes =
	{
		.name = "Task4_20mAscan",
		.stack_size = 256 * 4,
		.priority =
			(osPriority_t)osPriorityLow,
};
/* Definitions for myTaskMaster */
osThreadId_t myTaskMasterHandle;
const osThreadAttr_t myTaskMaster_attributes =
	{
		.name = "myTaskMaster",
		.stack_size = 256 * 4,
		.priority =
			(osPriority_t)osPriorityLow,
};
/* Definitions for ExternalFlash */
osThreadId_t ExternalFlashHandle;
const osThreadAttr_t ExternalFlash_attributes =
	{
		.name = "ExternalFlash",
		.stack_size = 512 * 4,
		.priority =
			(osPriority_t)osPriorityLow,
};
/* Definitions for UARTSend */
osThreadId_t UARTSendHandle;
const osThreadAttr_t UARTSend_attributes =
	{
		.name = "UARTSend",
		.stack_size = 512 * 4,
		.priority =
			(osPriority_t)osPriorityLow,
};
/* Definitions for PID */
osThreadId_t PIDHandle;
const osThreadAttr_t PID_attributes =
	{
		.name = "PID",
		.stack_size = 512 * 4,
		.priority =
			(osPriority_t)osPriorityLow,
};
/* Definitions for PumpsScheduler */
osThreadId_t PumpsSchedulerHandle;
const osThreadAttr_t PumpsScheduler_attributes =
	{
		.name = "PumpsScheduler",
		.stack_size = 256 * 4,
		.priority =
			(osPriority_t)osPriorityLow,
};

void StartDefaultTask(void *argument);
void UART1_task(void *argument);
void ADC_4_20mApolling(void *argument);
void StartTaskMaster(void *argument);
void external_flash(void *argument);
void UART_Send(void *argument);
void PIDControl(void *argument);
void Pumps_Scheduler(void *argument);

void MX_FREERTOS_Init(void); /* (MISRA C 2004 rule 8.1) */

/* Hook prototypes */
void vApplicationStackOverflowHook(xTaskHandle xTask, signed char *pcTaskName);

/* USER CODE BEGIN 4 */
void vApplicationStackOverflowHook(xTaskHandle xTask, signed char *pcTaskName)
{
	/* Run time stack overflow checking is performed if
	 configCHECK_FOR_STACK_OVERFLOW is defined to 1 or 2. This hook function is
	 called if a stack overflow is detected. */

	printf("Stack overflow in task: %s (Handle: %p)\n", pcTaskName, xTask);

	while (1)
		;
}
/* USER CODE END 4 */

void MX_FREERTOS_Init(void)
{

	/* Create the thread(s) */
	/* creation of defaultTask */
	defaultTaskHandle = osThreadNew(StartDefaultTask, NULL,
									&defaultTask_attributes);
	//
	//  /* creation of UART1Task */
	UART1TaskHandle = osThreadNew(UART1_task, NULL, &UART1Task_attributes);
	//
	//  /* creation of Task4_20mAscan */
	Task4_20mAscanHandle = osThreadNew(ADC_4_20mApolling, NULL,
									   &Task4_20mAscan_attributes);
	//
	//
	/* creation of ExternalFlash */
	ExternalFlashHandle = osThreadNew(external_flash, NULL,
									  &ExternalFlash_attributes);
	////
	//  /* creation of UARTSend */
	UARTSendHandle = osThreadNew(UART_Send, NULL, &UARTSend_attributes);
	//
	//  /* creation of PID */
	PIDHandle = osThreadNew(PIDControl, NULL, &PID_attributes);
	//
	//  /* creation of PumpsScheduler */
	PumpsSchedulerHandle = osThreadNew(Pumps_Scheduler, NULL,
									   &PumpsScheduler_attributes);

}

/**
 * @brief  StartDefaultTask is a multi-purpose helper function designed for embedded systems.
 *         It performs several critical background tasks that are essential for the overall
 *         system's stability and responsiveness. This function is structured to run as a
 *         continuous task in an RTOS environment, adhering to MISRA C:2012 guidelines for
 *         safety-critical systems. The function's responsibilities encompass alarm monitoring,
 *         real-time clock management, RGB LED control, and VFD monitoring.
 *
 *         Key Functionalities:
 *         1. Alarm Monitoring: Monitors various system alarms (e.g., pressure sensor errors, dry run detections)
 *            and manages system state transitions in response to these alarms. It controls the PID
 *            operation and scheduler based on alarm states.
 *         2. RTC Management: Handles user-driven RTC settings, ensuring system time is accurately
 *            maintained and synchronized. It includes parsing date and time from user inputs and
 *            managing errors in RTC settings.
 *         3. RGB LED Control: Manages the color of RGB LEDs through hardware timers, adjusting the
 *            outputs based on system or user inputs, reflecting the system's state visually.
 *         4. VFD Monitoring: Regularly sets a flag that will trigger a check for  the responsiveness of connected Variable Frequency Drives,
 *            ensuring the motor control subsystem operates correctly and efficiently.
 *         5.send modbus request  when the user use the custom order page from the app
 *         6.set to each vfd certain speed which will make the app mark this vfd as faulty when he sees this
 *         certain speed
 *         7.calculate if there is no response at all from any vfd so it will stop the pid algorithm
 *         @note :5,6,7 will be migrated from starttaskmaster to this task later.
 *
 *         The function operates within an infinite loop, with a fixed delay for task scheduling.
 *         This design allows for consistent execution of background tasks without monopolizing
 *         the CPU, thereby maintaining system responsiveness.
 *
 *         Usage Context:
 *         This task is critical in systems where multiple background operations need to be
 *         handled concurrently without specific module associations, such as in industrial
 *         automation systems. It ensures seamless integration of various system components and
 *         contributes to the overall reliability and efficiency of the system.
 *
 * @param  argument: Not used. Placeholder for RTOS task compatibility.
 * @retval None
 */
/* USER CODE END Header_StartDefaultTask */
void StartDefaultTask(void *argument)
{
}

/**
 * @brief UART1 Task Function for FreeRTOS
 *
 * Overview:
 * Function Name: UART1_task
 * Purpose: The `UART1_task` function is designed as a FreeRTOS task, responsible for managing UART (Universal Asynchronous Receiver-Transmitter) communications in an embedded system environment. This task handles communications through UART1, particularly focusing on interactions with external devices such as an ESP32 module, and processes data for the main board microcontroller, STM32H750.
 *
 * Key Functionalities:
 * 1. UART Data Reception:
 *    - Initiates UART reception in interrupt mode to efficiently handle asynchronous data reception.
 *    - Continuously monitors for new data received from the connected ESP32 device.
 *
 * 2. Data Parsing and Processing:
 *    - Upon new data arrival, parses the data to extract relevant commands or settings.
 *    - Converts received string data into appropriate data formats (integers, floats) as required by the system.
 *
 * 3. System Parameter Updates:
 *    - Updates various system parameters based on the received data, including:
 *      a. RGB LED color intensity adjustments.
 *      b. System setpoints such as pressure thresholds.
 *      c. Operational modes and control of pump speeds.
 *      d. Real-time clock (RTC) adjustments.
 *      e. Scheduler and alarm configuration settings.
 *
 * @param argument A pointer to the argument passed to the function.
 *                 This parameter is not used in the current implementation.
 *
 * @remarks The function is structured to comply with embedded system standards and is designed to be robust and efficient in handling UART communications. It is part of a larger system that relies on accurate and timely data communication for operational effectiveness.
 *
 * @warning This function is intended to run as a FreeRTOS task. It contains an infinite loop and must be carefully managed to avoid any potential system blocking or deadlocks in a real-time operating system (RTOS) environment.
 */
void UART1_task(void *argument)
{
}

/* USER CODE BEGIN Header_external_flash */
/**
 * @brief this task is responsable for operation of the external flash on the board
 * 			like storing alarms ,date of the operation of the system on the correct section
 * 			of the external flash and responsable for deleting the data when the user of the app request that .

 *
 * @param argument: Not used, included for RTOS task compatibility.
 * @retval None
 */
/* USER CODE END Header_external_flash */
void external_flash(void *argument)
{

	/* USER CODE END external_flash */
}

/* USER CODE BEGIN Header_UART_Send */
/**
 * @brief Implements the UART_Send thread for transmitting data to external devices via UART1.
 *        This task is responsible for serially transmitting various system parameters, alarms,
 *        and operational states to an external interface (like an app). It covers a broad range
 *        of data including current pressure, system errors, calibration settings, and real-time
 *        clock values. Adhering to MISRA C:2012 guidelines, the task ensures safety and reliability
 *        in data transmission within an embedded system context.
 *
 *        Primary Operations:
 *        - Periodic data transmission based on system states and user interface interactions.
 *        - Formatting and sending system parameters, error states, and configuration settings.
 *        - Handling conditional logic for data transmission based on system and user interface states.
 *
 *        The task plays a crucial role in maintaining real-time communication with external interfaces,
 *        providing necessary feedback and system status updates for user interaction and system monitoring.
 *
 * @param argument: Not used, included for RTOS task compatibility.
 * @retval None
 */
/* USER CODE END Header_UART_Send */
void UART_Send(void *argument)
{

	/* USER CODE END UART_Send */
}

/* USER CODE BEGIN Header_PIDControl */
/**
 * @brief Function implementing the PID control which send the approprate orders to the vfds using modbus communcation protocol to maintian the required set point .
 * @param argument: Not used
 * @retval None
 */
/* USER CODE END Header_PIDControl */
#if defined(MULTI_VFD)
void PIDControl(void *argument)
{
}
#elif defined(SINGLE_VFD)

/* USER CODE BEGIN Header_PIDControl */
/**
 * @brief Implements the PIDControl thread for a single VFD system, specifically designed to control a base load pump
 *        and other directly connected pumps. The task manages the PID control for the base load VFD pump and
 *        directly controls the on/off state of other pumps. It ensures optimal operation by adjusting the base load pump
 *        speed while running other pumps at full efficiency to achieve the desired setpoint. The task complies with
 *        MISRA C:2012 guidelines, ensuring reliability and safety in an embedded control system context.
 *
 *        Key Operations:
 *        - PID control of the base load pump VFD for precise speed adjustment.
 *        - Direct control of other pumps for full efficiency operation.
 *        - Monitoring and updating of system parameters like pressure and pump status.
 *        - Management of pump states based on process requirements and control algorithm.
 *
 *        This function is crucial in systems with a single VFD and multiple direct online pumps, commonly used in
 *        industrial and process control applications for efficient and synchronized operation.
 *
 * @param argument: Not used, included for RTOS task compatibility.
 * @retval None
 */
/* USER CODE END Header_PIDControl */
void PIDControl(void *argument)
{
}

#elif defined(NO_VFD)
/**
 * @brief Implements the PIDControl thread for a direct online pump system. In this configuration,
 *        the system is connected directly to multiple pumps, each activated at specific pressure set points.
 *        The task manages the on/off state of each pump based on current system pressure and predefined set points,
 *        ensuring efficient operation and maintaining the desired pressure. The task adheres to MISRA C:2012 guidelines,
 *        promoting safety and reliability in an embedded system designed for process control.
 *
 *        Key Operations:
 *        - Managing on/off state of pumps based on pressure set points.
 *        - Monitoring current system pressure and adjusting pump states accordingly.
 *        - Ensuring pumps with the lowest working hours are prioritized for activation.
 *        - Maintaining efficient operation while achieving pressure control objectives.
 *
 *        The function is crucial in systems where direct online pump control is preferred for simplicity and efficiency,
 *        commonly used in applications requiring straightforward pressure management with multiple pumps.
 *
 * @param argument: Not used, included for RTOS task compatibility.
 * @retval None
 */
void PIDControl(void *argument)
{
}
#endif

/**
 * @brief Implements the Pumps_Scheduler thread for dynamically managing pump operation in a system with multiple pumps.
 *        This task continuously evaluates the working hours of each pump and rearranges their operation based on
 *        accumulated working time to balance usage. It activates pumps with lower working hours while deactivating
 *        those with higher usage, adhering to MISRA C:2012 guidelines for safety and reliability in embedded control systems.
 *
 *        Key Operations:
 *        - Monitoring and updating working time for each pump.
 *        - Sorting pumps based on working hours for balanced usage.
 *        - Dynamically controlling pump operation based on scheduler settings and working time.
 *        - Maintaining system efficiency and extending pump life through balanced operation.
 *
 *        This task is crucial in systems where multiple pumps are used and wear balancing is needed to ensure
 *        longevity and efficiency, commonly seen in industrial and environmental control applications.
 *
 * @param argument: Not used, included for RTOS task compatibility.
 * @retval None
 */
/* USER CODE END Header_Pumps_Scheduler */
void Pumps_Scheduler(void *argument)
{
}
